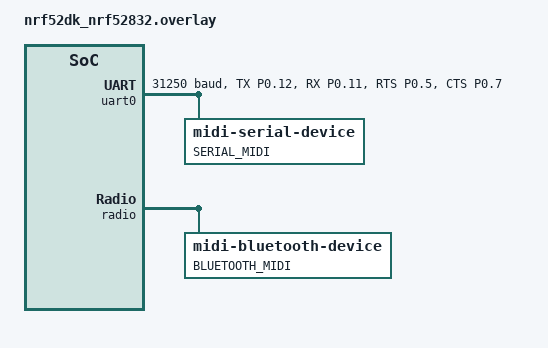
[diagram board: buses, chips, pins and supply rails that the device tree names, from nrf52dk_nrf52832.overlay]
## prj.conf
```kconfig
# Enable the UART driver
CONFIG_UART_ASYNC_API=y
CONFIG_NRFX_UARTE0=y
CONFIG_SERIAL=y

CONFIG_GPIO=y

# Make sure printk is not printing to the UART console
CONFIG_CONSOLE=y
CONFIG_UART_CONSOLE=y

CONFIG_HEAP_MEM_POOL_SIZE=2048

# Enable the BLE stack with GATT Client configuration
CONFIG_BT=y
CONFIG_BT_CENTRAL=y
CONFIG_BT_SMP=y
CONFIG_BT_GATT_CLIENT=y

CONFIG_BT_MIDI_CLIENT=y
CONFIG_BT_SCAN=y
CONFIG_BT_SCAN_FILTER_ENABLE=y
CONFIG_BT_SCAN_UUID_CNT=1
CONFIG_BT_GATT_DM=y

CONFIG_MIDI_PARSER=y

# Max BLE packet size: 24 x Program Change in Running status + timestamps
CONFIG_BT_L2CAP_TX_MTU=76
CONFIG_BT_BUF_ACL_RX_SIZE=76


# Enable DK LED and Buttons library
CONFIG_DK_LIBRARY=y

# This example requires more workqueue stack
CONFIG_SYSTEM_WORKQUEUE_STACK_SIZE=2048


# Config logger
CONFIG_LOG=y
CONFIG_USE_SEGGER_RTT=y
CONFIG_LOG_BACKEND_RTT=y
CONFIG_LOG_BACKEND_UART=n


CONFIG_ASSERT=y

CONFIG_BT_CTLR_SDC_LLPM=y
# CONFIG_BT_LL_SOFTDEVICE_VS_INCLUDE=y
CONFIG_BT_LL_SOFTDEVICE=y
CONFIG_BT_HCI_VS_EVT_USER=y
CONFIG_BT_GAP_PERIPHERAL_PREF_PARAMS=n

CONFIG_MIDI=y
CONFIG_MIDI_SERIAL=y
CONFIG_MIDI_PARSER=y
CONFIG_MIDI_BLUETOOTH_CENTRAL=y
```

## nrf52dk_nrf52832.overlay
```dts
&pinctrl {
	uart0_default: uart0_default {
		group1 {
			psels = <NRF_PSEL(UART_TX, 0, 12)>,
				<NRF_PSEL(UART_RX, 0, 11)>,
				<NRF_PSEL(UART_RTS, 0, 5)>,
				<NRF_PSEL(UART_CTS, 0, 7)>;
		};
	};

	uart0_sleep: uart0_sleep {
		group1 {
			psels = <NRF_PSEL(UART_TX, 0, 12)>,
				<NRF_PSEL(UART_RX, 0, 11)>,
				<NRF_PSEL(UART_RTS, 0, 5)>,
				<NRF_PSEL(UART_CTS, 0, 7)>;
			low-power-enable;
		};
	};
};

&uart0 {
	current-speed = <31250>;
    pinctrl-0 = <&uart0_default>;
	pinctrl-1 = <&uart0_sleep>;
    midi_serial_device {
        label = "SERIAL_MIDI";
        compatible = "midi-serial-device";
        midi_serial_in_device{
            compatible = "midi-serial-in-device";
            label = "SERIAL_MIDI_IN";
        };
    
        midi_serial_out_device{
            compatible = "midi-serial-out-device";
            label = "SERIAL_MIDI_OUT";
            handle-timestamps;
        };
    };

};

&radio{
	midi_bluetooth_device {
        label = "BLUETOOTH_MIDI";
        compatible = "midi-bluetooth-device";
        midi_bluetooth_in_device{
            compatible = "midi-bluetooth-in-device";
            label = "BLUETOOTH_MIDI_IN";
        };
    
        midi_bluetooth_out_device{
            compatible = "midi-bluetooth-out-device";
            label = "BLUETOOTH_MIDI_OUT";
        };
    };
};
```

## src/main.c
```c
#include <zephyr/types.h>
#include <zephyr/device.h>
#include <soc.h>

#include <dk_buttons_and_leds.h>
#include <midi/midi.h>
#include <midi/midi_bluetooth.h>
#include <midi/midi_parser.h>

#include <zephyr/logging/log.h>

#define LOG_MODULE_NAME midi
LOG_MODULE_REGISTER(LOG_MODULE_NAME);

#define RUN_STATUS_LED DK_LED1
#define CON_STATUS_LED DK_LED2
#define RUN_LED_BLINK_INTERVAL 1000

const struct device *serial_midi_in_dev;
const struct device *serial_midi_out_dev;
const struct device *bluetooth_midi_in_dev;
const struct device *bluetooth_midi_out_dev;

DEFINE_MIDI_PARSER_SERIAL(serial_parser);
DEFINE_MIDI_PARSER_BLUETOOTH(bluetooth_parser);

int midi_bluetooth_connected_cb(struct bt_conn *conn, uint8_t conn_err) 
{
	LOG_INF("MIDI BLUETOOTH connected!");
	
	dk_set_led_on(CON_STATUS_LED);

	return 0;
}

static int midi_bluetooth_sent(const struct device *dev,
			  midi_msg_t *msg,
			  void *user_data)
{
	LOG_INF("MIDI BLUETOOTH sent!");
	
	midi_msg_unref(msg);

	return 0;
}

static int midi_bluetooth_received(const struct device *dev,
			  midi_msg_t *msg,
			  void *user_data)
{
	LOG_INF("MIDI BLUETOOTH received!");
	midi_msg_t *parsed_msg = midi_parse_serial(msg, &bluetooth_parser);
	midi_msg_unref(msg);

	if (parsed_msg) {
		LOG_HEXDUMP_INF(parsed_msg->data, parsed_msg->len, "parsed:");
		midi_send(serial_midi_out_dev, parsed_msg);
	}

	return 0;
}

static int midi_serial_sent(const struct device *dev,
			  midi_msg_t *msg,
			  void *user_data)
{
	LOG_INF("MIDI SERIAL sent!");
	
	midi_msg_unref(msg);

	return 0;
}

static int midi_serial_received(const struct device *dev,
			  midi_msg_t *msg,
			  void *user_data)
{
	midi_msg_t *parsed_msg = midi_parse_serial(msg, &serial_parser);

	midi_msg_unref(msg);
	if (parsed_msg) {
		LOG_HEXDUMP_INF(parsed_msg->data, parsed_msg->len, "parsed:");
		midi_send(bluetooth_midi_out_dev, parsed_msg);
	}
	
	return 0;
}

const struct device * get_port(const char* name, 
			midi_transfer cb, void *user_data)
{
	int err;
	const struct device * dev;
	dev = device_get_binding(name);

	if (!dev) {
		LOG_ERR("Can not get device: %s", name);
	}

	err = midi_callback_set(dev, cb, user_data);
	if (err != 0) {
		LOG_ERR("Can not set callbacks for device: %s", name);
	}

	return dev;
}

void main(void)
{
	int blink_status = 0;
	int err;
	LOG_INF("Running");

	/*SERIAL PORTS*/
	serial_midi_in_dev = get_port("SERIAL_MIDI_IN", 
			midi_serial_received, NULL);
	
	serial_midi_out_dev = get_port("SERIAL_MIDI_OUT", 
			midi_serial_sent, NULL);


	/*BLUETOOTH PORTS*/
	bluetooth_midi_in_dev = get_port("BLUETOOTH_MIDI_IN", 
			midi_bluetooth_received, NULL);

	bluetooth_midi_out_dev = get_port("BLUETOOTH_MIDI_OUT", 
			midi_bluetooth_sent, NULL);

	LOG_INF("ports gotten");
	midi_bluetooth_register_connected_cb(midi_bluetooth_connected_cb);

	err = dk_leds_init();
	if (err) {
		LOG_ERR("Cannot init LEDs (err: %d)", err);
	}
	midi_bluetooth_scan(bluetooth_midi_in_dev);

	for (;;) {
		dk_set_led(RUN_STATUS_LED, (++blink_status) % 2);
		k_sleep(K_MSEC(RUN_LED_BLINK_INTERVAL));
	}
}
```
